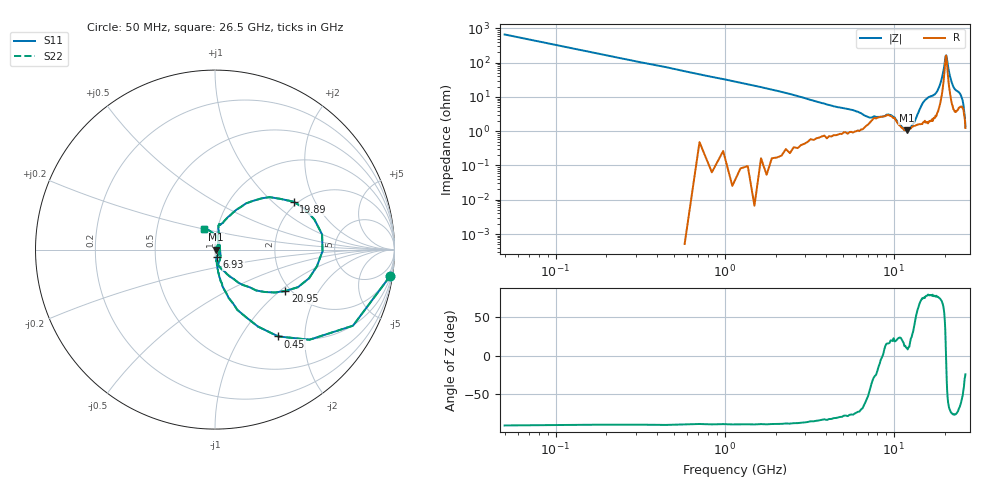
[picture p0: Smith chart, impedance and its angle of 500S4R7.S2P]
!  American Technical Ceramics  Date:  3/6/98
!  One Norden Lane
!  Huntington Station,  NY.  11746-2102
!  Tel:  (516) 547-5700  Fax:  (516) 547-5748
!  Part Number  500S4R7
!  Description: Broadband Microwave capacitor
!  Application:
# GHZ S DB R 50
! Freq  |S11|  S11 Ph  |S21|  S21 Ph  |S12|  S12 Ph  |S22|  S22 Ph
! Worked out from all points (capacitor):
!   201 points, 50 MHz to 26.5 GHz, reference 50 ohm
!   read as one part in series: C = 4.84 pF near 180 MHz
!   lowest |Z| = 1.05 ohm at 11.95 GHz (marker M1)
!   series resonance near 8.594 GHz, so ESL is about 71 pH
!   S11 on the Smith chart (normalised r, x): 50 MHz: 1, -13; 450 MHz: 0.98, -1.48; 6.93 GHz: 1.02, -0.08; 19.89 GHz: 1.91, +1.38; 20.95 GHz: 1.88, -1.09; 26.5 GHz: 0.86, +0.20
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0.05  -0.12 -8.7  -16.59 82.7  -16.59 82.7  -0.12 -8.7
0.18  -1.13 -28.9  -6.37 61.5  -6.37 61.5  -1.13 -28.9
0.45  -4.46 -54.0  -1.87 36.7  -1.87 36.7  -4.46 -54.0
0.84  -8.91 -69.7  -0.66 21.0  -0.66 21.0  -8.91 -69.7
1.37  -12.76 -76.9  -0.25 13.0  -0.25 13.0  -12.76 -76.9
3.09  -20.90 -82.4  -0.08 4.7  -0.08 4.7  -20.90 -82.4
4.55  -23.73 -81.8  -0.09 2.1  -0.09 2.1  -23.73 -81.8
6.93  -27.57 -74.9  -0.17 0.2  -0.17 0.2  -27.57 -74.9
8.91  -31.04 20.0  -0.24 -0.1  -0.24 -0.1  -31.04 20.0
9.97  -30.64 44.4  -0.23 0.1  -0.23 0.1  -30.64 44.4
11.95  -44.95 -6.1  -0.13 -0.2  -0.13 -0.2  -44.95 -6.1
13.28  -35.40 36.1  -0.13 -0.9  -0.13 -0.9  -35.40 36.1
14.99  -20.36 77.9  -0.21 -2.3  -0.21 -2.3  -20.36 77.9
17.77  -16.66 76.2  -0.37 -5.7  -0.37 -5.7  -16.66 76.2
19.23  -10.21 56.3  -1.38 -15.8  -1.38 -15.8  -10.21 56.3
19.89  -5.79 31.3  -4.26 -23.7  -4.26 -23.7  -5.79 31.3
20.42  -4.45 -0.9  -8.62 8.8  -8.62 8.8  -4.45 -0.9
20.95  -6.84 -30.4  -3.75 30.5  -3.75 30.5  -6.84 -30.4
22.14  -16.31 -63.7  -0.94 17.2  -0.94 17.2  -16.31 -63.7
24.12  -23.49 -67.7  -0.71 11.0  -0.71 11.0  -23.49 -67.7
25.05  -31.02 7.7  -0.65 10.3  -0.65 10.3  -31.02 7.7
26.5  -17.83 118.4  -0.70 7.7  -0.70 7.7  -17.83 118.4
